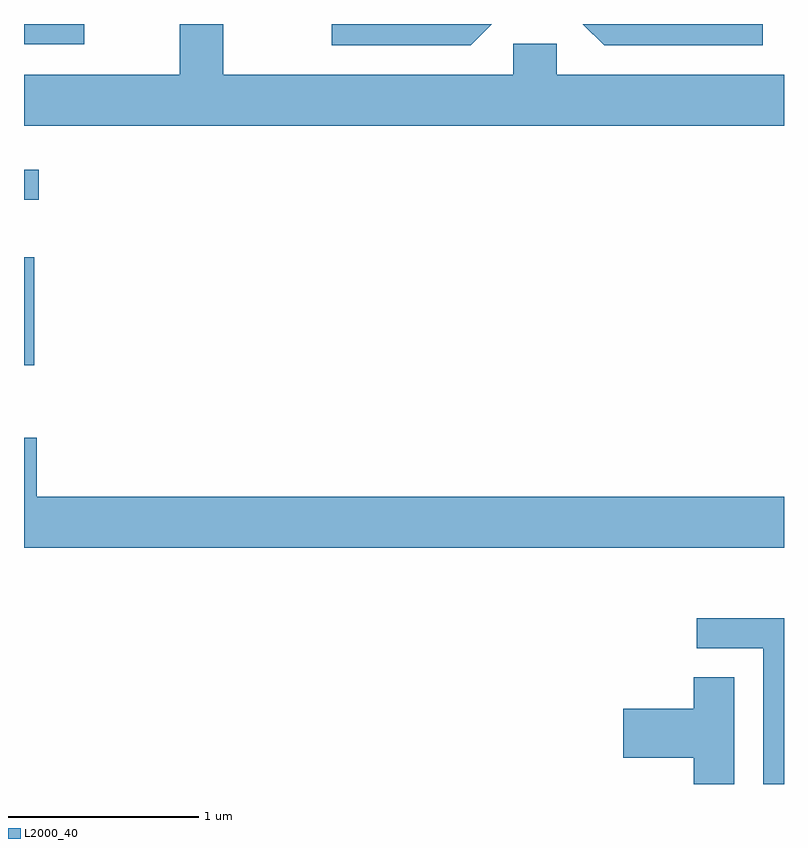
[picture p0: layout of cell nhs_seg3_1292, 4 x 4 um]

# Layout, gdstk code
import gdstk
lib = gdstk.Library(unit=1e-6, precision=1e-09)
def R(c, l, rs):  # rectangles x0, y0, x1, y1
    for r in rs: c.add(gdstk.rectangle(r[:2], r[2:], *l))
def P(c, l, *ps):  # polygons
    for p in ps: c.add(gdstk.Polygon(p, *l))
L2000_40 = (2000, 40)

nhs_seg3_1292 = lib.new_cell('nhs_seg3_1292')
R(nhs_seg3_1292, L2000_40, [(223.611,1118.096,223.664,1118.664), (223.611,1118.966,223.688,1119.124), (223.611,1119.786,223.928,1119.892)])
P(nhs_seg3_1292, L2000_40, [(227.611,1119.624),(226.414,1119.624),(226.414,1119.789),(226.186,1119.789),(226.186,1119.624),(224.659,1119.624),(224.659,1119.892),(224.431,1119.892),(224.431,1119.624),(223.611,1119.624),(223.611,1119.356),(227.611,1119.356)],
  [(226.073,1119.892),(225.231,1119.892),(225.231,1119.781),(225.962,1119.781)],
  [(227.499,1119.892),(226.553,1119.892),(226.664,1119.781),(227.499,1119.781)],
  [(227.611,1117.404),(223.679,1117.404),(223.679,1117.714),(223.611,1117.714),(223.611,1117.136),(227.611,1117.136)],
  [(227.611,1116.764),(227.153,1116.764),(227.153,1116.606),(227.501,1116.606),(227.501,1115.892),(227.611,1115.892)],
  [(227.349,1116.454),(227.136,1116.454),(227.136,1116.289),(226.766,1116.289),(226.766,1116.031),(227.136,1116.031),(227.136,1115.892),(227.349,1115.892)])

lib.write_gds('nhs_seg3_1292.gds')
